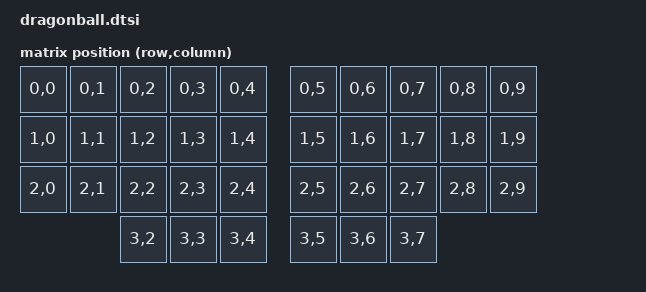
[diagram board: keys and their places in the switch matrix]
#include <dt-bindings/zmk/matrix_transform.h>
#include <physical_layouts.dtsi>

/ {
    chosen {
        zmk,kscan = &kscan0;
        zmk,matrix_transform = &default_transform;
        zmk,physical-layout = &physical_layout0;
    };

    default_transform: keymap_transform_0 {
        compatible = "zmk,matrix-transform";
        columns = <10>  ;
        rows = <4>;

        map = <
	 RC(0,0) RC(0,1) RC(0,2) RC(0,3) RC(0,4)   RC(0,5)  RC(0,6) RC(0,7) RC(0,8) RC(0,9)
	 RC(1,0) RC(1,1) RC(1,2) RC(1,3) RC(1,4)   RC(1,5)  RC(1,6) RC(1,7) RC(1,8) RC(1,9)
	 RC(2,0) RC(2,1) RC(2,2) RC(2,3) RC(2,4)   RC(2,5)  RC(2,6) RC(2,7) RC(2,8) RC(2,9)
					 RC(3,2) RC(3,3) RC(3,4)   RC(3,5)  RC(3,6) RC(3,7)
        >;
    };

    /* Approximate physical layout for the DYA Studio Keymap screen - key order
       matches default_transform's map 1:1. Coordinates are a generic split-ergo
       grid (100-unit pitch, 40-unit gap between halves), not measured from the
       real PCB, so positions in Studio's preview may not be pixel-accurate. */
    physical_layout0: physical_layout0 {
        compatible = "zmk,physical-layout";
        display-name = "Dragonball";
        transform = <&default_transform>;
        keys =
            <&key_physical_attrs 100 100    0   0 0 0 0>,
            <&key_physical_attrs 100 100  100   0 0 0 0>,
            <&key_physical_attrs 100 100  200   0 0 0 0>,
            <&key_physical_attrs 100 100  300   0 0 0 0>,
            <&key_physical_attrs 100 100  400   0 0 0 0>,
            <&key_physical_attrs 100 100  540   0 0 0 0>,
            <&key_physical_attrs 100 100  640   0 0 0 0>,
            <&key_physical_attrs 100 100  740   0 0 0 0>,
            <&key_physical_attrs 100 100  840   0 0 0 0>,
            <&key_physical_attrs 100 100  940   0 0 0 0>,

            <&key_physical_attrs 100 100    0 100 0 0 0>,
            <&key_physical_attrs 100 100  100 100 0 0 0>,
            <&key_physical_attrs 100 100  200 100 0 0 0>,
            <&key_physical_attrs 100 100  300 100 0 0 0>,
            <&key_physical_attrs 100 100  400 100 0 0 0>,
            <&key_physical_attrs 100 100  540 100 0 0 0>,
            <&key_physical_attrs 100 100  640 100 0 0 0>,
            <&key_physical_attrs 100 100  740 100 0 0 0>,
            <&key_physical_attrs 100 100  840 100 0 0 0>,
            <&key_physical_attrs 100 100  940 100 0 0 0>,

            <&key_physical_attrs 100 100    0 200 0 0 0>,
            <&key_physical_attrs 100 100  100 200 0 0 0>,
            <&key_physical_attrs 100 100  200 200 0 0 0>,
            <&key_physical_attrs 100 100  300 200 0 0 0>,
            <&key_physical_attrs 100 100  400 200 0 0 0>,
            <&key_physical_attrs 100 100  540 200 0 0 0>,
            <&key_physical_attrs 100 100  640 200 0 0 0>,
            <&key_physical_attrs 100 100  740 200 0 0 0>,
            <&key_physical_attrs 100 100  840 200 0 0 0>,
            <&key_physical_attrs 100 100  940 200 0 0 0>,

            <&key_physical_attrs 100 100  200 300 0 0 0>,
            <&key_physical_attrs 100 100  300 300 0 0 0>,
            <&key_physical_attrs 100 100  400 300 0 0 0>,
            <&key_physical_attrs 100 100  540 300 0 0 0>,
            <&key_physical_attrs 100 100  640 300 0 0 0>,
            <&key_physical_attrs 100 100  740 300 0 0 0>;
    };

    kscan0: kscan {
        diode-direction = "col2row";
    };
};


